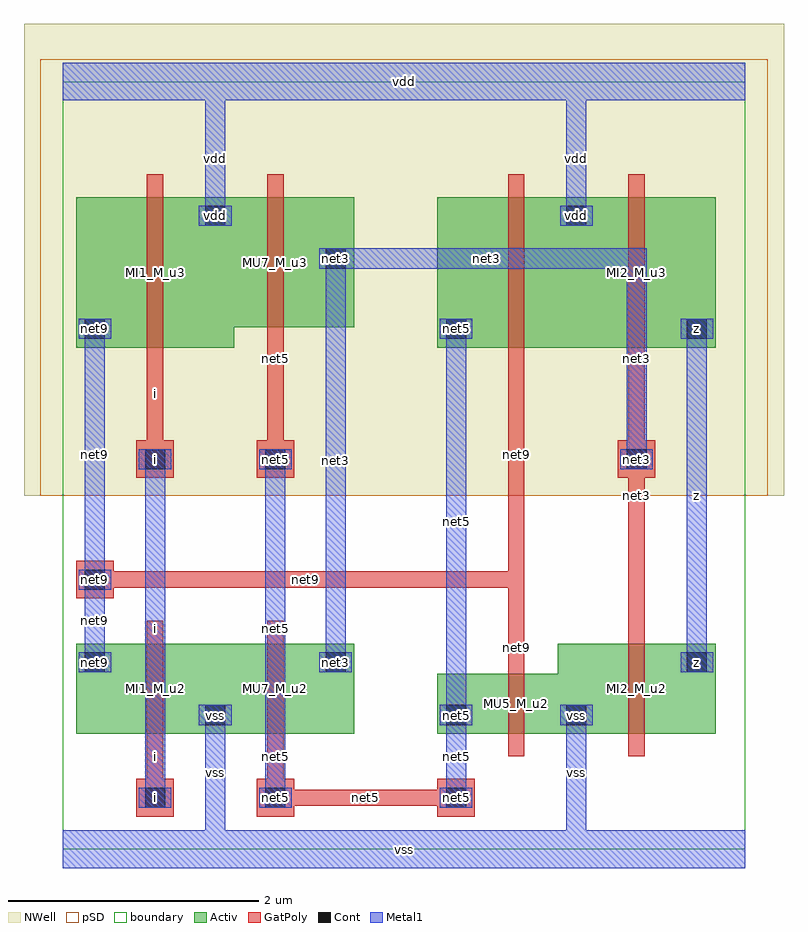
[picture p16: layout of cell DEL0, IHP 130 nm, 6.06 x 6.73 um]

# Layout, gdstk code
import gdstk
lib = gdstk.Library(unit=1e-6, precision=1e-09)
def R(c, l, rs):  # rectangles x0, y0, x1, y1
    for r in rs: c.add(gdstk.rectangle(r[:2], r[2:], *l))
Activ = (1, 0)
GatPoly = (5, 0)
Cont = (6, 0)
Metal1 = (8, 0)
pSD = (14, 0)
NWell = (31, 0)
TEXT = (63, 0)
boundary = (189, 4)

del0 = lib.new_cell('DEL0')
R(del0, Activ, [(0.105,0.92,1.365,1.64), (1.065,0.92,2.325,1.64), (1.065,0.92,1.365,1.22), (2.985,0.92,4.245,1.4), (2.985,0.92,3.285,1.22), (3.945,0.92,5.205,1.64), (3.945,0.92,4.245,1.22), (0.105,1.34,0.405,1.64), (2.025,1.34,2.325,1.64), (4.905,1.34,5.205,1.64), (0.105,4,1.365,5.2), (0.105,4,0.405,4.3), (2.985,4,4.245,5.2), (2.985,4,3.285,4.3), (3.945,4,5.205,5.2), (4.905,4,5.205,4.3), (1.065,4.16,2.325,5.2), (2.025,4.56,2.325,4.86), (1.065,4.9,1.365,5.2), (3.945,4.9,4.245,5.2)])
R(del0, GatPoly, [(0.585,0.26,0.885,0.56), (1.545,0.26,1.845,0.56), (2.985,0.26,3.285,0.56), (0.67,0.345,0.8,1.135), (1.63,0.345,1.76,1.135), (1.63,0.345,3.2,0.475), (0.67,0.74,0.8,1.82), (1.63,0.74,1.76,1.82), (3.55,0.74,3.68,1.58), (4.51,0.74,4.64,1.82), (3.55,1.005,3.68,2.215), (4.51,1.425,4.64,4.215), (0.105,2,0.405,2.3), (0.19,2.085,3.68,2.215), (3.55,2.085,3.68,4.215), (0.585,2.96,0.885,3.26), (1.545,2.96,1.845,3.26), (4.425,2.96,4.725,3.26), (0.67,3.045,0.8,4.215), (1.63,3.045,1.76,4.775), (0.67,3.82,0.8,5.38), (3.55,3.82,3.68,5.38), (4.51,3.82,4.64,5.38), (1.63,3.98,1.76,5.38)])
R(del0, Cont, [(0.655,0.33,0.815,0.49), (1.615,0.33,1.775,0.49), (3.055,0.33,3.215,0.49), (1.135,0.99,1.295,1.15), (3.055,0.99,3.215,1.15), (4.015,0.99,4.175,1.15), (0.175,1.41,0.335,1.57), (2.095,1.41,2.255,1.57), (4.975,1.41,5.135,1.57), (0.175,2.07,0.335,2.23), (0.655,3.03,0.815,3.19), (1.615,3.03,1.775,3.19), (4.495,3.03,4.655,3.19), (0.175,4.07,0.335,4.23), (3.055,4.07,3.215,4.23), (4.975,4.07,5.135,4.23), (2.095,4.63,2.255,4.79), (1.135,4.97,1.295,5.13), (4.015,4.97,4.175,5.13)])
R(del0, Metal1, [(0,-0.15,5.44,0.15), (1.135,0.07,1.295,1.15), (4.015,0.07,4.175,1.15), (0.605,0.33,0.865,0.49), (0.655,0.33,0.815,3.19), (1.565,0.33,1.825,0.49), (1.615,0.33,1.775,3.19), (3.005,0.33,3.265,0.49), (3.055,0.33,3.215,1.15), (1.085,0.99,1.345,1.15), (3.005,0.99,3.265,1.15), (3.055,0.99,3.215,4.23), (3.965,0.99,4.225,1.15), (0.125,1.41,0.385,1.57), (0.175,1.41,0.335,2.23), (2.045,1.41,2.305,1.57), (2.095,1.41,2.255,4.79), (4.925,1.41,5.185,1.57), (4.975,1.41,5.135,4.23), (0.125,2.07,0.385,2.23), (0.175,2.07,0.335,4.23), (0.605,3.03,0.865,3.19), (1.565,3.03,1.825,3.19), (4.445,3.03,4.705,3.19), (4.495,3.03,4.655,4.79), (0.125,4.07,0.385,4.23), (3.005,4.07,3.265,4.23), (4.925,4.07,5.185,4.23), (2.045,4.63,2.305,4.79), (2.095,4.63,4.655,4.79), (1.085,4.97,1.345,5.13), (1.135,4.97,1.295,6.05), (3.965,4.97,4.225,5.13), (4.015,4.97,4.175,6.05), (0,5.97,5.44,6.27)])
R(del0, pSD, [(-0.18,2.82,5.62,5.94), (-0.18,5.94,5.62,6.3)])
R(del0, NWell, [(-0.31,2.82,5.75,6.58)])
R(del0, boundary, [(0,0,5.44,6.12)])
del0.add(gdstk.FlexPath([(0.105,0.41),(5.205,0.41)], 0, ends="flush", simple_path=True, layer=63, datatype=0))  # TEXT
del0.add(gdstk.FlexPath([(0.105,1.07),(5.205,1.07)], 0, ends="flush", simple_path=True, layer=63, datatype=0))  # TEXT
del0.add(gdstk.FlexPath([(0.105,1.49),(5.205,1.49)], 0, ends="flush", simple_path=True, layer=63, datatype=0))  # TEXT
del0.add(gdstk.FlexPath([(0.105,2.15),(5.205,2.15)], 0, ends="flush", simple_path=True, layer=63, datatype=0))  # TEXT
del0.add(gdstk.FlexPath([(0.105,2.63),(5.205,2.63)], 0, ends="flush", simple_path=True, layer=63, datatype=0))  # TEXT
del0.add(gdstk.FlexPath([(0.105,3.11),(5.205,3.11)], 0, ends="flush", simple_path=True, layer=63, datatype=0))  # TEXT
del0.add(gdstk.FlexPath([(0.105,4.15),(5.205,4.15)], 0, ends="flush", simple_path=True, layer=63, datatype=0))  # TEXT
del0.add(gdstk.FlexPath([(0.105,4.71),(5.205,4.71)], 0, ends="flush", simple_path=True, layer=63, datatype=0))  # TEXT
del0.add(gdstk.FlexPath([(0.105,5.05),(5.205,5.05)], 0, ends="flush", simple_path=True, layer=63, datatype=0))  # TEXT
del0.add(gdstk.FlexPath([(0.105,5.71),(5.205,5.71)], 0, ends="flush", simple_path=True, layer=63, datatype=0))  # TEXT
del0.add(gdstk.FlexPath([(0.255,0.07),(0.255,6.05)], 0, ends="flush", simple_path=True, layer=63, datatype=0))  # TEXT
del0.add(gdstk.FlexPath([(0.735,0.07),(0.735,6.05)], 0, ends="flush", simple_path=True, layer=63, datatype=0))  # TEXT
del0.add(gdstk.FlexPath([(1.215,0.07),(1.215,6.05)], 0, ends="flush", simple_path=True, layer=63, datatype=0))  # TEXT
del0.add(gdstk.FlexPath([(1.695,0.07),(1.695,6.05)], 0, ends="flush", simple_path=True, layer=63, datatype=0))  # TEXT
del0.add(gdstk.FlexPath([(2.175,0.07),(2.175,6.05)], 0, ends="flush", simple_path=True, layer=63, datatype=0))  # TEXT
del0.add(gdstk.FlexPath([(2.655,0.07),(2.655,6.05)], 0, ends="flush", simple_path=True, layer=63, datatype=0))  # TEXT
del0.add(gdstk.FlexPath([(3.135,0.07),(3.135,6.05)], 0, ends="flush", simple_path=True, layer=63, datatype=0))  # TEXT
del0.add(gdstk.FlexPath([(3.615,0.07),(3.615,6.05)], 0, ends="flush", simple_path=True, layer=63, datatype=0))  # TEXT
del0.add(gdstk.FlexPath([(4.095,0.07),(4.095,6.05)], 0, ends="flush", simple_path=True, layer=63, datatype=0))  # TEXT
del0.add(gdstk.FlexPath([(4.575,0.07),(4.575,6.05)], 0, ends="flush", simple_path=True, layer=63, datatype=0))  # TEXT
del0.add(gdstk.FlexPath([(5.055,0.07),(5.055,6.05)], 0, ends="flush", simple_path=True, layer=63, datatype=0))  # TEXT
del0.add(gdstk.Label('z', (5.055,1.49), layer=6, texttype=0))
del0.add(gdstk.Label('z', (5.055,4.15), layer=6, texttype=0))
del0.add(gdstk.Label('net3', (2.175,1.49), layer=6, texttype=0))
del0.add(gdstk.Label('net3', (2.175,4.71), layer=6, texttype=0))
del0.add(gdstk.Label('net3', (4.575,3.11), layer=6, texttype=0))
del0.add(gdstk.Label('net5', (3.135,1.07), layer=6, texttype=0))
del0.add(gdstk.Label('net5', (3.135,4.15), layer=6, texttype=0))
del0.add(gdstk.Label('net5', (3.135,0.41), layer=6, texttype=0))
del0.add(gdstk.Label('net5', (1.695,0.41), layer=6, texttype=0))
del0.add(gdstk.Label('net5', (1.695,3.11), layer=6, texttype=0))
del0.add(gdstk.Label('net9', (0.255,1.49), layer=6, texttype=0))
del0.add(gdstk.Label('net9', (0.255,4.15), layer=6, texttype=0))
del0.add(gdstk.Label('net9', (0.255,2.15), layer=6, texttype=0))
del0.add(gdstk.Label('i', (0.735,0.41), layer=6, texttype=0))
del0.add(gdstk.Label('i', (0.735,3.11), layer=6, texttype=0))
del0.add(gdstk.Label('vss', (4.095,1.07), layer=6, texttype=0))
del0.add(gdstk.Label('vss', (1.215,1.07), layer=6, texttype=0))
del0.add(gdstk.Label('vdd', (4.095,5.05), layer=6, texttype=0))
del0.add(gdstk.Label('vdd', (1.215,5.05), layer=6, texttype=0))
del0.add(gdstk.Label('net3', (2.175,1.49), layer=8, texttype=0))
del0.add(gdstk.Label('net3', (2.175,4.71), layer=8, texttype=0))
del0.add(gdstk.Label('net3', (4.575,3.11), layer=8, texttype=0))
del0.add(gdstk.Label('net3', (4.575,3.91), layer=8, texttype=0))
del0.add(gdstk.Label('net3', (3.375,4.71), layer=8, texttype=0))
del0.add(gdstk.Label('net3', (2.175,3.1), layer=8, texttype=0))
del0.add(gdstk.Label('net5', (3.135,1.07), layer=8, texttype=0))
del0.add(gdstk.Label('net5', (3.135,4.15), layer=8, texttype=0))
del0.add(gdstk.Label('net5', (3.135,0.41), layer=8, texttype=0))
del0.add(gdstk.Label('net5', (3.135,0.74), layer=8, texttype=0))
del0.add(gdstk.Label('net5', (1.695,0.41), layer=8, texttype=0))
del0.add(gdstk.Label('net5', (1.695,1.76), layer=8, texttype=0))
del0.add(gdstk.Label('net5', (1.695,3.11), layer=8, texttype=0))
del0.add(gdstk.Label('net5', (3.135,2.61), layer=8, texttype=0))
del0.add(gdstk.Label('net9', (0.255,1.49), layer=8, texttype=0))
del0.add(gdstk.Label('net9', (0.255,4.15), layer=8, texttype=0))
del0.add(gdstk.Label('net9', (0.255,2.15), layer=8, texttype=0))
del0.add(gdstk.Label('net9', (0.255,1.82), layer=8, texttype=0))
del0.add(gdstk.Label('net9', (0.255,3.15), layer=8, texttype=0))
del0.add(gdstk.Label('vss', (4.095,1.07), layer=8, texttype=0))
del0.add(gdstk.Label('vss', (4.095,0.61), layer=8, texttype=0))
del0.add(gdstk.Label('vss', (1.215,1.07), layer=8, texttype=0))
del0.add(gdstk.Label('vss', (1.215,0.61), layer=8, texttype=0))
del0.add(gdstk.Label('vdd', (4.095,5.05), layer=8, texttype=0))
del0.add(gdstk.Label('vdd', (4.095,5.51), layer=8, texttype=0))
del0.add(gdstk.Label('vdd', (1.215,5.05), layer=8, texttype=0))
del0.add(gdstk.Label('vdd', (1.215,5.51), layer=8, texttype=0))
del0.add(gdstk.Label('z', (5.055,1.49), layer=8, texttype=2))
del0.add(gdstk.Label('z', (5.055,4.15), layer=8, texttype=2))
del0.add(gdstk.Label('z', (5.055,2.82), layer=8, texttype=2))
del0.add(gdstk.Label('i', (0.735,0.41), layer=8, texttype=2))
del0.add(gdstk.Label('i', (0.735,1.76), layer=8, texttype=2))
del0.add(gdstk.Label('i', (0.735,3.11), layer=8, texttype=2))
del0.add(gdstk.Label('vss', (2.72,0), layer=8, texttype=2))
del0.add(gdstk.Label('vdd', (2.72,6.12), layer=8, texttype=2))
del0.add(gdstk.Label('z', (5.055,1.49), layer=8, texttype=2))
del0.add(gdstk.Label('z', (5.055,4.15), layer=8, texttype=2))
del0.add(gdstk.Label('z', (5.055,2.82), layer=8, texttype=2))
del0.add(gdstk.Label('i', (0.735,0.41), layer=8, texttype=2))
del0.add(gdstk.Label('i', (0.735,1.76), layer=8, texttype=2))
del0.add(gdstk.Label('i', (0.735,3.11), layer=8, texttype=2))
del0.add(gdstk.Label('vss', (2.72,0), layer=8, texttype=2))
del0.add(gdstk.Label('vdd', (2.72,6.12), layer=8, texttype=2))
del0.add(gdstk.Label('MI2_M_u2', (4.575,1.28), layer=1, texttype=0))
del0.add(gdstk.Label('MU7_M_u2', (1.695,1.28), layer=1, texttype=0))
del0.add(gdstk.Label('MU5_M_u2', (3.615,1.16), layer=1, texttype=0))
del0.add(gdstk.Label('MI1_M_u2', (0.735,1.28), layer=1, texttype=0))
del0.add(gdstk.Label('MI2_M_u3', (4.575,4.6), layer=1, texttype=0))
del0.add(gdstk.Label('MU7_M_u3', (1.695,4.68), layer=1, texttype=0))
del0.add(gdstk.Label('MU5_M_u3', (3.615,4.6), layer=1, texttype=0))
del0.add(gdstk.Label('MI1_M_u3', (0.735,4.6), layer=1, texttype=0))
del0.add(gdstk.Label('z', (5.055,1.49), layer=1, texttype=0))
del0.add(gdstk.Label('z', (5.055,4.15), layer=1, texttype=0))
del0.add(gdstk.Label('net3', (2.175,1.49), layer=1, texttype=0))
del0.add(gdstk.Label('net3', (2.175,4.71), layer=1, texttype=0))
del0.add(gdstk.Label('net5', (3.135,1.07), layer=1, texttype=0))
del0.add(gdstk.Label('net5', (3.135,4.15), layer=1, texttype=0))
del0.add(gdstk.Label('net9', (0.255,1.49), layer=1, texttype=0))
del0.add(gdstk.Label('net9', (0.255,4.15), layer=1, texttype=0))
del0.add(gdstk.Label('vss', (4.095,1.07), layer=1, texttype=0))
del0.add(gdstk.Label('vss', (1.215,1.07), layer=1, texttype=0))
del0.add(gdstk.Label('vdd', (4.095,5.05), layer=1, texttype=0))
del0.add(gdstk.Label('vdd', (1.215,5.05), layer=1, texttype=0))
del0.add(gdstk.Label('z', (5.055,1.49), layer=8, texttype=25))
del0.add(gdstk.Label('z', (5.055,4.15), layer=8, texttype=25))
del0.add(gdstk.Label('z', (5.055,2.82), layer=8, texttype=25))
del0.add(gdstk.Label('i', (0.735,0.41), layer=8, texttype=25))
del0.add(gdstk.Label('i', (0.735,1.76), layer=8, texttype=25))
del0.add(gdstk.Label('i', (0.735,3.11), layer=8, texttype=25))
del0.add(gdstk.Label('vss', (2.72,0), layer=8, texttype=25))
del0.add(gdstk.Label('vdd', (2.72,6.12), layer=8, texttype=25))
del0.add(gdstk.Label('net3', (4.575,2.82), layer=5, texttype=0))
del0.add(gdstk.Label('net3', (4.575,3.11), layer=5, texttype=0))
del0.add(gdstk.Label('net5', (1.695,0.74), layer=5, texttype=0))
del0.add(gdstk.Label('net5', (2.415,0.41), layer=5, texttype=0))
del0.add(gdstk.Label('net5', (3.135,0.41), layer=5, texttype=0))
del0.add(gdstk.Label('net5', (1.695,0.41), layer=5, texttype=0))
del0.add(gdstk.Label('net5', (1.695,3.11), layer=5, texttype=0))
del0.add(gdstk.Label('net5', (1.695,3.91), layer=5, texttype=0))
del0.add(gdstk.Label('net9', (3.615,1.61), layer=5, texttype=0))
del0.add(gdstk.Label('net9', (1.935,2.15), layer=5, texttype=0))
del0.add(gdstk.Label('net9', (0.255,2.15), layer=5, texttype=0))
del0.add(gdstk.Label('net9', (3.615,3.15), layer=5, texttype=0))
del0.add(gdstk.Label('i', (0.735,0.74), layer=5, texttype=0))
del0.add(gdstk.Label('i', (0.735,0.41), layer=5, texttype=0))
del0.add(gdstk.Label('i', (0.735,3.11), layer=5, texttype=0))
del0.add(gdstk.Label('i', (0.735,3.63), layer=5, texttype=0))

lib.write_gds('DEL0.gds')
